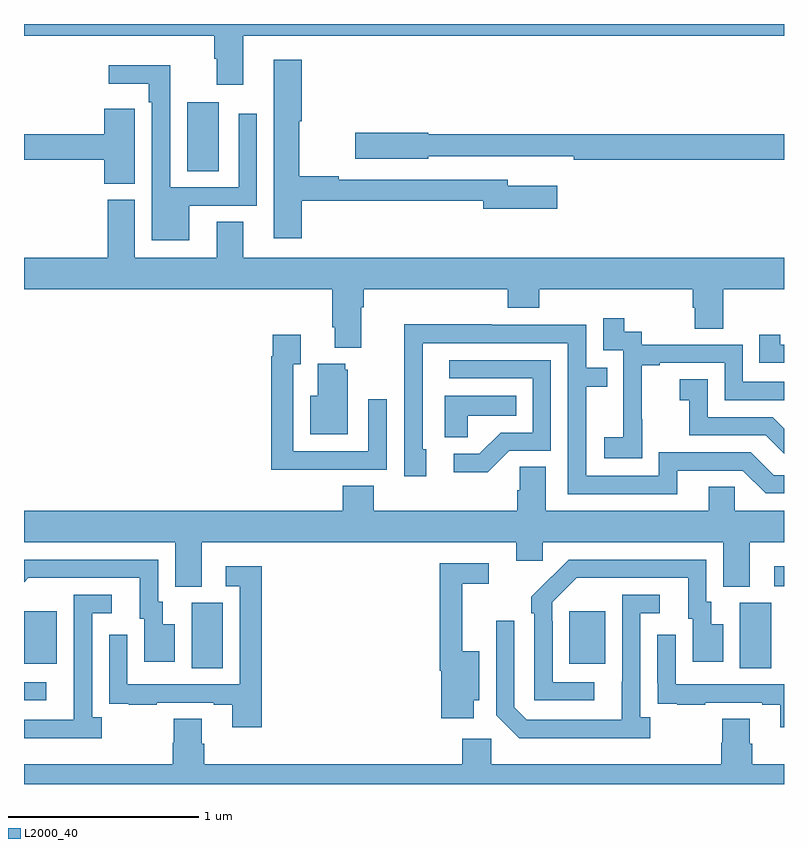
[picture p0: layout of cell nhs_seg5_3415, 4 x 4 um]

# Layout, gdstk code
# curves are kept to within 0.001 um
import gdstk
lib = gdstk.Library(unit=1e-6, precision=1e-09)
def R(c, l, rs):  # rectangles x0, y0, x1, y1
    for r in rs: c.add(gdstk.rectangle(r[:2], r[2:], *l))
def P(c, l, *ps):  # polygons
    for p in ps: c.add(gdstk.Polygon(p, *l))
L2000_40 = (2000, 40)

nhs_seg5_3415 = lib.new_cell('nhs_seg5_3415')
R(nhs_seg5_3415, L2000_40, [(311,877.239,311.116,877.335), (311.882,877.408,312.046,877.752), (314.768,877.408,314.932,877.752), (311,877.433,311.173,877.708), (313.871,877.433,314.059,877.708), (314.949,877.839,315,877.945), (311.858,880.024,312.025,880.387)])
P(nhs_seg5_3415, L2000_40, [(311,880.736),(312.002,880.736),(312.002,880.616),(312.014,880.616),(312.014,880.479),(312.154,880.479),(312.154,880.736),(315,880.736),(315,880.799),(311,880.799)],
  [(312.461,879.87),(313.418,879.87),(313.418,879.827),(313.807,879.827),(313.807,879.949),(313.546,879.949),(313.546,879.978),(312.656,879.978),(312.656,879.998),(312.448,879.998),(312.448,880.287),(312.461,880.287),(312.461,880.612),(312.314,880.612),(312.314,879.672),(312.461,879.672)],
  [(311.869,879.843),(312.225,879.843),(312.225,880.327),(312.129,880.327),(312.129,879.939),(311.769,879.939),(311.769,880.582),(311.445,880.582),(311.445,880.484),(311.657,880.484),(311.657,880.388),(311.673,880.388),(311.673,879.662),(311.869,879.662)],
  [(311.584,880.241),(311.583,880.241),(311.583,880.354),(311.423,880.354),(311.423,880.22),(311,880.22),(311,880.084),(311.423,880.084),(311.423,879.958),(311.584,879.958)],
  [(315,880.22),(313.128,880.22),(313.128,880.226),(312.744,880.226),(312.744,880.091),(313.128,880.091),(313.128,880.104),(313.642,880.104),(313.642,880.103),(313.894,880.103),(313.894,880.084),(315,880.084)],
  [(312.775,879.308),(312.788,879.308),(312.788,879.404),(313.547,879.404),(313.547,879.305),(313.712,879.305),(313.712,879.404),(314.519,879.404),(314.519,879.306),(314.531,879.306),(314.531,879.196),(314.679,879.196),(314.679,879.404),(315,879.404),(315,879.568),(312.154,879.568),(312.154,879.758),(312.014,879.758),(312.014,879.568),(311.584,879.568),(311.584,879.873),(311.441,879.873),(311.441,879.568),(311,879.568),(311,879.404),(312.623,879.404),(312.623,879.202),(312.635,879.202),(312.635,879.095),(312.775,879.095)],
  [(314.253,878.719),(314.252,878.719),(314.252,879.003),(314.347,879.003),(314.347,879.015),(314.688,879.015),(314.688,878.82),(315,878.82),(315,878.916),(314.784,878.916),(314.784,879.111),(314.25,879.111),(314.25,879.18),(314.158,879.18),(314.158,879.25),(314.049,879.25),(314.049,879.081),(314.154,879.081),(314.154,878.852),(314.153,878.852),(314.153,878.623),(314.055,878.623),(314.055,878.513),(314.253,878.513)],
  [(314.437,878.448),(314.784,878.448),(314.904,878.328),(315,878.328),(315,878.424),(314.946,878.424),(314.826,878.544),(314.34,878.544),(314.34,878.421),(313.959,878.421),(313.959,878.89),(314.069,878.89),(314.069,878.991),(313.959,878.991),(313.959,879.216),(313.463,879.216),(313.463,879.218),(313,879.218),(313,878.911),(313.002,878.911),(313.002,878.418),(313.117,878.418),(313.117,878.562),(313.098,878.562),(313.098,879.12),(313.863,879.12),(313.863,878.325),(314.437,878.325)],
  [(312.593,878.454),(312.909,878.454),(312.909,878.824),(312.813,878.824),(312.813,878.55),(312.417,878.55),(312.417,879.007),(312.457,879.007),(312.457,879.163),(312.309,879.163),(312.309,879.05),(312.301,879.05),(312.301,878.453),(312.593,878.453)],
  [(315,879.111),(314.98,879.111),(314.98,879.163),(314.869,879.163),(314.869,879.015),(315,879.015)],
  [(313.554,878.553),(313.773,878.553),(313.773,879.03),(313.239,879.03),(313.239,878.934),(313.677,878.934),(313.677,878.649),(313.508,878.649),(313.397,878.538),(313.263,878.538),(313.263,878.441),(313.441,878.441)],
  [(312.703,878.979),(312.692,878.979),(312.692,879.01),(312.545,879.01),(312.545,878.842),(312.506,878.842),(312.506,878.639),(312.703,878.639)],
  [(315,878.67),(314.94,878.73),(314.598,878.73),(314.598,878.929),(314.451,878.929),(314.451,878.819),(314.5,878.819),(314.5,878.634),(314.903,878.634),(315,878.537)],
  [(313.335,878.738),(313.592,878.738),(313.592,878.842),(313.214,878.842),(313.214,878.623),(313.335,878.623)],
  [(311.935,878.072),(313.592,878.072),(313.592,877.974),(313.731,877.974),(313.731,878.072),(314.681,878.072),(314.681,877.837),(314.821,877.837),(314.821,878.072),(315,878.072),(315,878.236),(314.742,878.236),(314.742,878.363),(314.603,878.363),(314.603,878.236),(313.747,878.236),(313.747,878.468),(313.608,878.468),(313.608,878.345),(313.595,878.345),(313.595,878.236),(312.842,878.236),(312.842,878.369),(312.677,878.369),(312.677,878.236),(311,878.236),(311,878.072),(311.795,878.072),(311.795,877.837),(311.935,877.837)],
  [(314.002,877.335),(313.782,877.335),(313.782,877.655),(313.779,877.655),(313.779,877.755),(313.908,877.884),(314.495,877.884),(314.495,877.668),(314.519,877.668),(314.519,877.443),(314.68,877.443),(314.68,877.639),(314.617,877.639),(314.617,877.758),(314.592,877.758),(314.592,877.98),(313.868,877.98),(313.671,877.785),(313.671,877.697),(313.686,877.697),(313.686,877.239),(314.002,877.239)],
  [(311.794,877.639),(311.731,877.639),(311.731,877.758),(311.706,877.758),(311.706,877.98),(311,877.98),(311,877.862),(311.022,877.884),(311.609,877.884),(311.609,877.668),(311.633,877.668),(311.633,877.443),(311.794,877.443)],
  [(313.366,877.241),(313.396,877.241),(313.396,877.498),(313.307,877.498),(313.307,877.854),(313.447,877.854),(313.447,877.962),(313.189,877.962),(313.189,877.394),(313.196,877.394),(313.196,877.146),(313.366,877.146)],
  [(312.251,877.945),(312.063,877.945),(312.063,877.839),(312.135,877.839),(312.135,877.323),(311.544,877.323),(311.544,877.585),(311.448,877.585),(311.448,877.33),(311.449,877.33),(311.449,877.221),(311.551,877.221),(311.551,877.215),(311.699,877.215),(311.699,877.227),(311.999,877.227),(311.999,877.215),(312.095,877.215),(312.095,877.098),(312.251,877.098)],
  [(314.296,877.15),(314.244,877.15),(314.244,877.698),(314.347,877.698),(314.347,877.794),(314.148,877.794),(314.147,877.137),(313.647,877.137),(313.581,877.203),(313.581,877.657),(313.485,877.657),(313.485,877.161),(313.606,877.04),(314.296,877.04)],
  [(311.41,877.15),(311.358,877.15),(311.358,877.698),(311.461,877.698),(311.461,877.794),(311.262,877.794),(311.262,877.337),(311.261,877.337),(311.261,877.137),(311,877.137),(311,877.04),(311.41,877.04)],
  [(315,877.323),(314.43,877.323),(314.43,877.585),(314.334,877.585),(314.334,877.33),(314.335,877.33),(314.335,877.221),(314.437,877.221),(314.437,877.215),(314.585,877.215),(314.585,877.227),(314.885,877.227),(314.885,877.215),(314.981,877.215),(314.981,877.098),(315,877.098)],
  [(315,876.904),(314.834,876.904),(314.834,877.01),(314.821,877.01),(314.821,877.142),(314.674,877.142),(314.674,877.017),(314.669,877.017),(314.669,876.904),(313.458,876.904),(313.458,877.036),(313.307,877.036),(313.307,876.904),(311.948,876.904),(311.948,877.01),(311.935,877.01),(311.935,877.142),(311.788,877.142),(311.788,877.017),(311.783,877.017),(311.783,876.904),(311,876.904),(311,876.799),(315,876.799)])

lib.write_gds('nhs_seg5_3415.gds')
